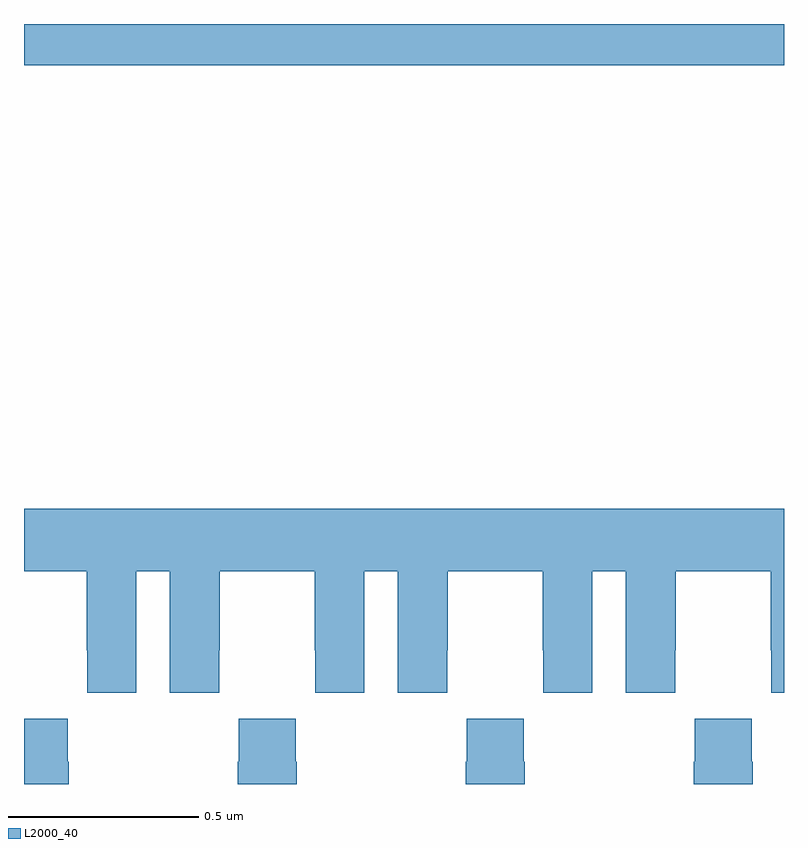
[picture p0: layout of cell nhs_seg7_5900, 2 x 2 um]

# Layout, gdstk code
import gdstk
lib = gdstk.Library(unit=1e-6, precision=1e-09)
def R(c, l, rs):  # rectangles x0, y0, x1, y1
    for r in rs: c.add(gdstk.rectangle(r[:2], r[2:], *l))
def P(c, l, *ps):  # polygons
    for p in ps: c.add(gdstk.Polygon(p, *l))
L2000_40 = (2000, 40)

nhs_seg7_5900 = lib.new_cell('nhs_seg7_5900')
R(nhs_seg7_5900, L2000_40, [(191,1057.892,193,1058)])
P(nhs_seg7_5900, L2000_40, [(191.296,1056.56),(191.384,1056.56),(191.384,1056.24),(191.514,1056.24),(191.514,1056.352),(191.515,1056.352),(191.515,1056.56),(191.765,1056.56),(191.765,1056.352),(191.766,1056.352),(191.766,1056.24),(191.896,1056.24),(191.896,1056.56),(191.984,1056.56),(191.984,1056.24),(192.114,1056.24),(192.114,1056.352),(192.115,1056.352),(192.115,1056.56),(192.365,1056.56),(192.365,1056.352),(192.366,1056.352),(192.366,1056.24),(192.496,1056.24),(192.496,1056.56),(192.584,1056.56),(192.584,1056.24),(192.714,1056.24),(192.714,1056.352),(192.715,1056.352),(192.715,1056.56),(192.965,1056.56),(192.965,1056.352),(192.966,1056.352),(192.966,1056.24),(193,1056.24),(193,1056.724),(191,1056.724),(191,1056.56),(191.165,1056.56),(191.165,1056.352),(191.166,1056.352),(191.166,1056.24),(191.296,1056.24)],
  [(191.718,1056.059),(191.715,1056.059),(191.715,1056.172),(191.565,1056.172),(191.565,1056.059),(191.563,1056.059),(191.563,1056),(191.718,1056)],
  [(192.318,1056.059),(192.315,1056.059),(192.315,1056.172),(192.165,1056.172),(192.165,1056.059),(192.163,1056.059),(192.163,1056),(192.318,1056)],
  [(192.918,1056.059),(192.915,1056.059),(192.915,1056.172),(192.765,1056.172),(192.765,1056.059),(192.763,1056.059),(192.763,1056),(192.918,1056)],
  [(191.118,1056.059),(191.115,1056.059),(191.115,1056.172),(191,1056.172),(191,1056),(191.118,1056)])

lib.write_gds('nhs_seg7_5900.gds')
